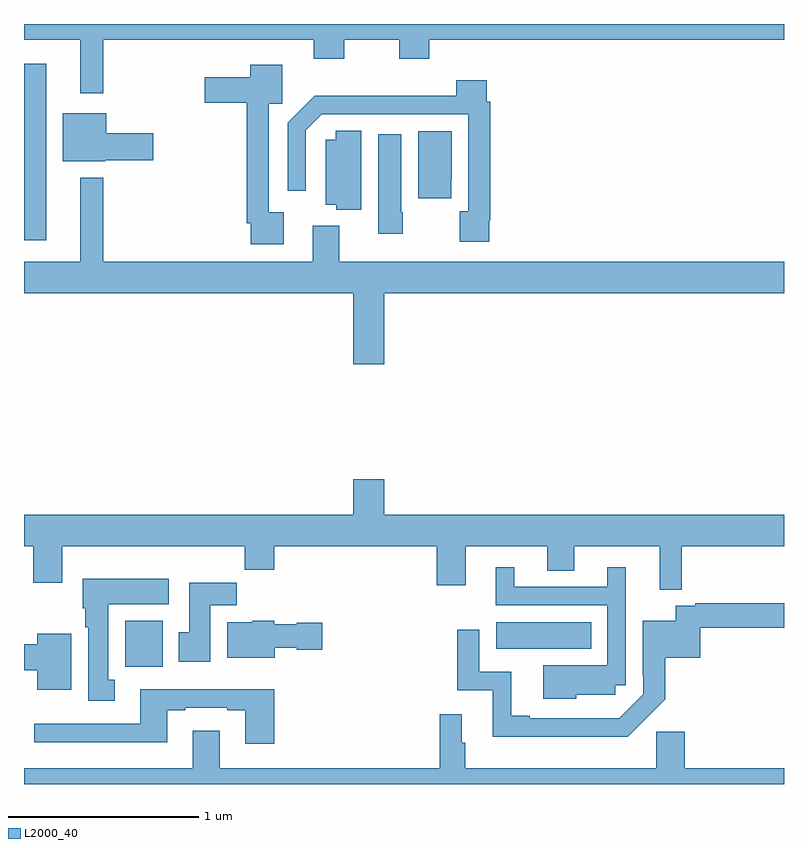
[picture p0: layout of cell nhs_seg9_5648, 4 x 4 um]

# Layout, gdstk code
import gdstk
lib = gdstk.Library(unit=1e-6, precision=1e-09)
def R(c, l, rs):  # rectangles x0, y0, x1, y1
    for r in rs: c.add(gdstk.rectangle(r[:2], r[2:], *l))
def P(c, l, *ps):  # polygons
    for p in ps: c.add(gdstk.Polygon(p, *l))
L2000_40 = (2000, 40)

nhs_seg9_5648 = lib.new_cell('nhs_seg9_5648')
R(nhs_seg9_5648, L2000_40, [(439.532,1197.116,439.729,1197.358), (441.486,1197.212,441.986,1197.352), (439,1199.363,439.117,1200.292)])
P(nhs_seg9_5648, L2000_40, [(439.417,1200.416),(440.525,1200.416),(440.525,1200.317),(440.685,1200.317),(440.685,1200.416),(440.974,1200.416),(440.974,1200.317),(441.134,1200.317),(441.134,1200.416),(443,1200.416),(443,1200.5),(439,1200.5),(439,1200.416),(439.295,1200.416),(439.295,1200.135),(439.417,1200.135)],
  [(440.368,1199.51),(440.289,1199.51),(440.289,1200.081),(440.358,1200.081),(440.358,1200.286),(440.192,1200.286),(440.192,1200.22),(439.95,1200.22),(439.95,1200.086),(440.173,1200.086),(440.173,1199.452),(440.193,1199.452),(440.193,1199.34),(440.368,1199.34)],
  [(441.448,1199.467),(441.455,1199.467),(441.455,1200.092),(441.436,1200.092),(441.436,1200.205),(441.275,1200.205),(441.275,1200.122),(440.529,1200.122),(440.388,1199.98),(440.388,1199.622),(440.484,1199.622),(440.484,1199.94),(440.568,1200.024),(441.339,1200.024),(441.339,1199.515),(441.293,1199.515),(441.293,1199.355),(441.448,1199.355)],
  [(439.428,1199.783),(439.681,1199.783),(439.681,1199.925),(439.432,1199.925),(439.432,1200.031),(439.205,1200.031),(439.205,1199.777),(439.428,1199.777)],
  [(440.776,1199.939),(440.64,1199.939),(440.64,1199.892),(440.588,1199.892),(440.588,1199.549),(440.643,1199.549),(440.643,1199.522),(440.776,1199.522)],
  [(441.249,1199.686),(441.25,1199.686),(441.25,1199.935),(441.074,1199.935),(441.074,1199.583),(441.249,1199.583)],
  [(440.994,1199.509),(440.986,1199.509),(440.986,1199.92),(440.864,1199.92),(440.864,1199.397),(440.994,1199.397)],
  [(440.896,1199.084),(443,1199.084),(443,1199.248),(440.659,1199.248),(440.659,1199.437),(440.519,1199.437),(440.519,1199.248),(439.417,1199.248),(439.417,1199.692),(439.295,1199.692),(439.295,1199.248),(439,1199.248),(439,1199.084),(440.732,1199.084),(440.732,1198.71),(440.896,1198.71)],
  [(440.896,1198.105),(440.732,1198.105),(440.732,1197.916),(439,1197.916),(439,1197.752),(439.049,1197.752),(439.049,1197.558),(439.201,1197.558),(439.201,1197.752),(440.161,1197.752),(440.161,1197.628),(440.318,1197.628),(440.318,1197.752),(441.173,1197.752),(441.173,1197.546),(441.325,1197.546),(441.325,1197.752),(441.755,1197.752),(441.755,1197.622),(441.895,1197.622),(441.895,1197.752),(442.346,1197.752),(442.346,1197.523),(442.463,1197.523),(442.463,1197.752),(443,1197.752),(443,1197.916),(440.896,1197.916)],
  [(441.906,1196.969),(442.113,1196.969),(442.113,1197.021),(442.167,1197.021),(442.167,1197.64),(442.07,1197.64),(442.07,1197.537),(441.58,1197.537),(441.58,1197.64),(441.482,1197.64),(441.482,1197.441),(442.071,1197.441),(442.071,1197.124),(441.734,1197.124),(441.734,1196.948),(441.906,1196.948)],
  [(439.477,1197.05),(439.444,1197.05),(439.444,1197.446),(439.762,1197.446),(439.762,1197.58),(439.31,1197.58),(439.31,1197.426),(439.322,1197.426),(439.322,1197.326),(439.337,1197.326),(439.337,1196.937),(439.477,1196.937)],
  [(439.981,1197.44),(440.12,1197.44),(440.12,1197.559),(439.871,1197.559),(439.871,1197.3),(439.814,1197.3),(439.814,1197.144),(439.981,1197.144)],
  [(442.376,1196.945),(442.376,1197.164),(442.559,1197.164),(442.559,1197.322),(443,1197.322),(443,1197.451),(442.534,1197.451),(442.534,1197.438),(442.43,1197.438),(442.43,1197.358),(442.257,1197.358),(442.257,1197.073),(442.26,1197.073),(442.26,1196.973),(442.132,1196.845),(442.031,1196.845),(442.031,1196.847),(441.661,1196.847),(441.661,1196.86),(441.565,1196.86),(441.565,1197.09),(441.396,1197.09),(441.396,1197.313),(441.28,1197.313),(441.28,1196.994),(441.467,1196.994),(441.467,1196.75),(441.979,1196.75),(441.979,1196.748),(442.178,1196.748)],
  [(440.32,1197.218),(440.436,1197.218),(440.436,1197.206),(440.569,1197.206),(440.569,1197.348),(440.436,1197.348),(440.436,1197.34),(440.316,1197.34),(440.316,1197.358),(440.202,1197.358),(440.202,1197.352),(440.069,1197.352),(440.069,1197.164),(440.32,1197.164)],
  [(439.249,1197.292),(439.07,1197.292),(439.07,1197.236),(439,1197.236),(439,1197.1),(439.07,1197.1),(439.07,1196.996),(439.249,1196.996)],
  [(440.318,1196.998),(439.613,1196.998),(439.613,1196.817),(439.053,1196.817),(439.053,1196.72),(439.753,1196.72),(439.753,1196.889),(439.849,1196.889),(439.849,1196.901),(440.069,1196.901),(440.069,1196.889),(440.165,1196.889),(440.165,1196.712),(440.318,1196.712)],
  [(443,1196.584),(442.478,1196.584),(442.478,1196.775),(442.327,1196.775),(442.327,1196.584),(441.323,1196.584),(441.323,1196.717),(441.304,1196.717),(441.304,1196.866),(441.187,1196.866),(441.187,1196.584),(440.029,1196.584),(440.029,1196.779),(439.889,1196.779),(439.889,1196.584),(439,1196.584),(439,1196.5),(443,1196.5)])

lib.write_gds('nhs_seg9_5648.gds')
